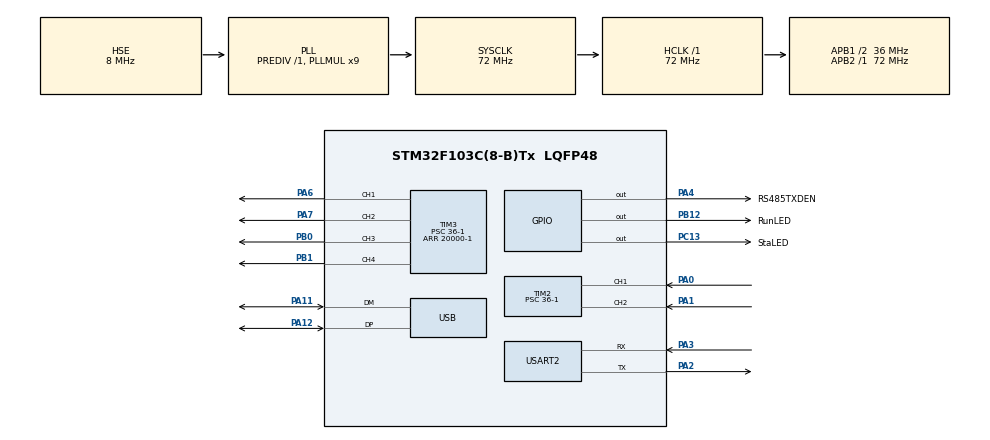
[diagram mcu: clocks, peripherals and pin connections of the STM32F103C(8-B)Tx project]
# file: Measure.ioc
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FREERTOS.Tasks01=Task01,24,128,StartTask01,Default,NULL,Dynamic,NULL,NULL;Task02,24,128,StartTask02,Default,NULL,Dynamic,NULL,NULL;Task03,24,128,StartTask03,Default,NULL,Dynamic,NULL,NULL;Task04,24,128,StartTask04,Default,NULL,Dynamic,NULL,NULL;Task05,24,128,StartTask05,Default,NULL,Dynamic,NULL,NULL
FREERTOS.configTOTAL_HEAP_SIZE=4096
Mcu.Family=STM32F1
Mcu.Name=STM32F103C(8-B)Tx
Mcu.Package=LQFP48
NVIC.PriorityGroup=NVIC_PRIORITYGROUP_4
NVIC.TIM2_IRQn=true\:0\:0\:false\:false\:true\:false\:true\:true
NVIC.TIM4_IRQn=true\:0\:0\:false\:false\:true\:false\:false\:true
NVIC.TimeBase=TIM4_IRQn
NVIC.TimeBaseIP=TIM4
NVIC.USART2_IRQn=true\:0\:0\:false\:false\:true\:false\:true\:true
NVIC.USB_LP_CAN1_RX0_IRQn=true\:0\:0\:false\:false\:true\:true\:false\:true
PA0-WKUP.GPIO_PuPd=GPIO_PULLUP
PA0-WKUP.Signal=S_TIM2_CH1_ETR
PA1.GPIO_PuPd=GPIO_PULLUP
PA1.Signal=S_TIM2_CH2
PA11.Mode=Device
PA11.Signal=USB_DM
PA12.Mode=Device
PA12.Signal=USB_DP
PA13.Mode=Serial_Wire
PA13.Signal=SYS_JTMS-SWDIO
PA14.Mode=Serial_Wire
PA14.Signal=SYS_JTCK-SWCLK
PA2.Mode=Asynchronous
PA2.Signal=USART2_TX
PA3.Mode=Asynchronous
PA3.Signal=USART2_RX
PA4.GPIO_Label=RS485TXDEN
PA4.GPIO_Speed=GPIO_SPEED_FREQ_HIGH
PA4.PinState=GPIO_PIN_SET
PA4.Signal=GPIO_Output
PA6.Signal=S_TIM3_CH1
PA7.Signal=S_TIM3_CH2
PB0.Signal=S_TIM3_CH3
PB1.Signal=S_TIM3_CH4
PB12.GPIO_Label=RunLED
PB12.GPIO_Speed=GPIO_SPEED_FREQ_HIGH
PB12.PinState=GPIO_PIN_SET
PB12.Signal=GPIO_Output
PC13-TAMPER-RTC.GPIO_Label=StaLED
PC13-TAMPER-RTC.Signal=GPIO_Output
PD0-OSC_IN.Mode=HSE-External-Oscillator
PD0-OSC_IN.Signal=RCC_OSC_IN
PD1-OSC_OUT.Mode=HSE-External-Oscillator
PD1-OSC_OUT.Signal=RCC_OSC_OUT
ProjectManager.HeapSize=0x200
ProjectManager.StackSize=0x400
ProjectManager.TargetToolchain=MDK-ARM V5.27
RCC.AHBFreq_Value=72000000
RCC.APB1CLKDivider=RCC_HCLK_DIV2
RCC.APB1Freq_Value=36000000
RCC.APB1TimFreq_Value=72000000
RCC.APB2Freq_Value=72000000
RCC.APB2TimFreq_Value=72000000
RCC.HCLKFreq_Value=72000000
RCC.PLLMUL=RCC_PLL_MUL9
RCC.PLLSourceVirtual=RCC_PLLSOURCE_HSE
RCC.SYSCLKFreq_VALUE=72000000
RCC.SYSCLKSource=RCC_SYSCLKSOURCE_PLLCLK
RCC.USBFreq_Value=48000000
RCC.USBPrescaler=RCC_USBCLKSOURCE_PLL_DIV1_5
SH.S_TIM2_CH1_ETR.0=TIM2_CH1,Input_Capture1_from_TI1
SH.S_TIM2_CH2.0=TIM2_CH2,Input_Capture2_from_TI2
SH.S_TIM3_CH1.0=TIM3_CH1,PWM Generation1 CH1
SH.S_TIM3_CH2.0=TIM3_CH2,PWM Generation2 CH2
SH.S_TIM3_CH3.0=TIM3_CH3,PWM Generation3 CH3
SH.S_TIM3_CH4.0=TIM3_CH4,PWM Generation4 CH4
TIM2.Channel-Input_Capture1_from_TI1=TIM_CHANNEL_1
TIM2.Channel-Input_Capture2_from_TI2=TIM_CHANNEL_2
TIM2.ICFilter_CH1=10
TIM2.ICFilter_CH2=10
TIM2.Prescaler=36-1
TIM3.Channel-PWM\ Generation1\ CH1=TIM_CHANNEL_1
TIM3.Channel-PWM\ Generation2\ CH2=TIM_CHANNEL_2
TIM3.Channel-PWM\ Generation3\ CH3=TIM_CHANNEL_3
TIM3.Channel-PWM\ Generation4\ CH4=TIM_CHANNEL_4
TIM3.Period=20000-1
TIM3.Prescaler=36-1
USART2.VirtualMode=VM_ASYNC
USB_DEVICE.CLASS_NAME_FS=CDC
USB_DEVICE.VirtualMode=Cdc
USB_DEVICE.VirtualModeFS=Cdc_FS
VP_FREERTOS_VS_CMSIS_V2.Mode=CMSIS_V2
VP_SYS_VS_tim4.Mode=TIM4
VP_TIM2_VS_ClockSourceINT.Mode=Internal
VP_TIM3_VS_ClockSourceINT.Mode=Internal
VP_USB_DEVICE_VS_USB_DEVICE_CDC_FS.Mode=CDC_FS
board=custom

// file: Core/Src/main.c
/* USER CODE BEGIN Header */
/**
  ******************************************************************************
  * @file           : main.c
  * @brief          : Main program body
  ******************************************************************************
  * @attention
  *
  * <h2><center>&copy; Copyright (c) 2021 STMicroelectronics.
  * All rights reserved.</center></h2>
  *
  * This software component is licensed by ST under Ultimate Liberty license
  * SLA0044, the "License"; You may not use this file except in compliance with
  * the License. You may obtain a copy of the License at:
  *                             www.st.com/SLA0044
  *
  ******************************************************************************
  */
/* USER CODE END Header */
#include "main.h"
#include "cmsis_os.h"
#include "tim.h"
#include "usart.h"
#include "usb_device.h"
#include "gpio.h"

void SystemClock_Config(void);
void MX_FREERTOS_Init(void);

int main(void)
{

  /* MCU Configuration--------------------------------------------------------*/

  /* Reset of all peripherals, Initializes the Flash interface and the Systick. */
  HAL_Init();

  /* Configure the system clock */
  SystemClock_Config();

  /* Initialize all configured peripherals */
  MX_GPIO_Init();
  MX_TIM2_Init();
  MX_TIM3_Init();
  MX_USART2_UART_Init();
  /* USER CODE BEGIN 2 */
	//tim2
	HAL_TIM_IC_Start_IT(&htim2,TIM_CHANNEL_1);
	HAL_TIM_IC_Start_IT(&htim2,TIM_CHANNEL_2);
	//tim3
	HAL_TIM_PWM_Start(&htim3,TIM_CHANNEL_1);
	HAL_TIM_PWM_Start(&htim3,TIM_CHANNEL_2);
	HAL_TIM_PWM_Start(&htim3,TIM_CHANNEL_3);
	HAL_TIM_PWM_Start(&htim3,TIM_CHANNEL_4);
	//uart2
	__HAL_UART_ENABLE_IT(&huart2,UART_IT_RXNE);
  /* USER CODE END 2 */

  /* Init scheduler */
  osKernelInitialize();  /* Call init function for freertos objects (in freertos.c) */
  MX_FREERTOS_Init();
  /* Start scheduler */
  osKernelStart();

  /* We should never get here as control is now taken by the scheduler */
  /* Infinite loop */
  while (1)
  {

  }
}

void SystemClock_Config(void)
{
  RCC_OscInitTypeDef RCC_OscInitStruct = {0};
  RCC_ClkInitTypeDef RCC_ClkInitStruct = {0};
  RCC_PeriphCLKInitTypeDef PeriphClkInit = {0};

  /** Initializes the RCC Oscillators according to the specified parameters
  * in the RCC_OscInitTypeDef structure.
  */
  RCC_OscInitStruct.OscillatorType = RCC_OSCILLATORTYPE_HSE;
  RCC_OscInitStruct.HSEState = RCC_HSE_ON;
  RCC_OscInitStruct.HSEPredivValue = RCC_HSE_PREDIV_DIV1;
  RCC_OscInitStruct.HSIState = RCC_HSI_ON;
  RCC_OscInitStruct.PLL.PLLState = RCC_PLL_ON;
  RCC_OscInitStruct.PLL.PLLSource = RCC_PLLSOURCE_HSE;
  RCC_OscInitStruct.PLL.PLLMUL = RCC_PLL_MUL9;
  if (HAL_RCC_OscConfig(&RCC_OscInitStruct) != HAL_OK)
  {
    Error_Handler();
  }
  /** Initializes the CPU, AHB and APB buses clocks
  */
  RCC_ClkInitStruct.ClockType = RCC_CLOCKTYPE_HCLK|RCC_CLOCKTYPE_SYSCLK
                              |RCC_CLOCKTYPE_PCLK1|RCC_CLOCKTYPE_PCLK2;
  RCC_ClkInitStruct.SYSCLKSource = RCC_SYSCLKSOURCE_PLLCLK;
  RCC_ClkInitStruct.AHBCLKDivider = RCC_SYSCLK_DIV1;
  RCC_ClkInitStruct.APB1CLKDivider = RCC_HCLK_DIV2;
  RCC_ClkInitStruct.APB2CLKDivider = RCC_HCLK_DIV1;

  if (HAL_RCC_ClockConfig(&RCC_ClkInitStruct, FLASH_LATENCY_2) != HAL_OK)
  {
    Error_Handler();
  }
  PeriphClkInit.PeriphClockSelection = RCC_PERIPHCLK_USB;
  PeriphClkInit.UsbClockSelection = RCC_USBCLKSOURCE_PLL_DIV1_5;
  if (HAL_RCCEx_PeriphCLKConfig(&PeriphClkInit) != HAL_OK)
  {
    Error_Handler();
  }
}

void HAL_TIM_PeriodElapsedCallback(TIM_HandleTypeDef *htim)
{
  if (htim->Instance == TIM4) {
    HAL_IncTick();
  }
}

void Error_Handler(void)
{
}

/************************ (C) COPYRIGHT STMicroelectronics *****END OF FILE****/

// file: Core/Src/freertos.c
/* USER CODE BEGIN Header */
/**
  ******************************************************************************
  * File Name          : freertos.c
  * Description        : Code for freertos applications
  ******************************************************************************
  * @attention
  *
  * <h2><center>&copy; Copyright (c) 2021 STMicroelectronics.
  * All rights reserved.</center></h2>
  *
  * This software component is licensed by ST under Ultimate Liberty license
  * SLA0044, the "License"; You may not use this file except in compliance with
  * the License. You may obtain a copy of the License at:
  *                             www.st.com/SLA0044
  *
  ******************************************************************************
  */
/* USER CODE END Header */

#include "FreeRTOS.h"
#include "task.h"
#include "main.h"
#include "cmsis_os.h"

/* USER CODE BEGIN Includes */
#include "Task01.h"
#include "Task02.h"
#include "Task03.h"
#include "Task04.h"
#include "Task05.h"
/* USER CODE END Includes */

/* Definitions for Task01 */
osThreadId_t Task01Handle;
const osThreadAttr_t Task01_attributes = {
  .name = "Task01",
  .priority = (osPriority_t) osPriorityNormal,
  .stack_size = 128 * 4
};
/* Definitions for Task02 */
osThreadId_t Task02Handle;
const osThreadAttr_t Task02_attributes = {
  .name = "Task02",
  .priority = (osPriority_t) osPriorityNormal,
  .stack_size = 128 * 4
};
/* Definitions for Task03 */
osThreadId_t Task03Handle;
const osThreadAttr_t Task03_attributes = {
  .name = "Task03",
  .priority = (osPriority_t) osPriorityNormal,
  .stack_size = 128 * 4
};
/* Definitions for Task04 */
osThreadId_t Task04Handle;
const osThreadAttr_t Task04_attributes = {
  .name = "Task04",
  .priority = (osPriority_t) osPriorityNormal,
  .stack_size = 128 * 4
};
/* Definitions for Task05 */
osThreadId_t Task05Handle;
const osThreadAttr_t Task05_attributes = {
  .name = "Task05",
  .priority = (osPriority_t) osPriorityNormal,
  .stack_size = 128 * 4
};

void StartTask01(void *argument);
void StartTask02(void *argument);
void StartTask03(void *argument);
void StartTask04(void *argument);
void StartTask05(void *argument);

extern void MX_USB_DEVICE_Init(void);
void MX_FREERTOS_Init(void); /* (MISRA C 2004 rule 8.1) */

void MX_FREERTOS_Init(void) {

  /* Create the thread(s) */
  /* creation of Task01 */
  Task01Handle = osThreadNew(StartTask01, NULL, &Task01_attributes);

  /* creation of Task02 */
  Task02Handle = osThreadNew(StartTask02, NULL, &Task02_attributes);

  /* creation of Task03 */
  Task03Handle = osThreadNew(StartTask03, NULL, &Task03_attributes);

  /* creation of Task04 */
  Task04Handle = osThreadNew(StartTask04, NULL, &Task04_attributes);

  /* creation of Task05 */
  Task05Handle = osThreadNew(StartTask05, NULL, &Task05_attributes);

}

void StartTask01(void *argument)
{
  /* init code for USB_DEVICE */
  MX_USB_DEVICE_Init();
  /* USER CODE BEGIN StartTask01 */
  /* Infinite loop */
  for(;;)
  {
		Task01Main();
    osDelay(1);
  }
  /* USER CODE END StartTask01 */
}

void StartTask02(void *argument)
{
  /* USER CODE BEGIN StartTask02 */
  /* Infinite loop */
  for(;;)
  {
		Task02Main();
    osDelay(1);
  }
  /* USER CODE END StartTask02 */
}

void StartTask03(void *argument)
{
  /* USER CODE BEGIN StartTask03 */
  /* Infinite loop */
  for(;;)
  {
		Task03Main();
    osDelay(1);
  }
  /* USER CODE END StartTask03 */
}

void StartTask04(void *argument)
{
  /* USER CODE BEGIN StartTask04 */
  /* Infinite loop */
  for(;;)
  {
		Task04Main();
    osDelay(1);
  }
  /* USER CODE END StartTask04 */
}

void StartTask05(void *argument)
{
  /* USER CODE BEGIN StartTask05 */
  /* Infinite loop */
  for(;;)
  {
		Task05Main();
    osDelay(1);
  }
  /* USER CODE END StartTask05 */
}

/************************ (C) COPYRIGHT STMicroelectronics *****END OF FILE****/
